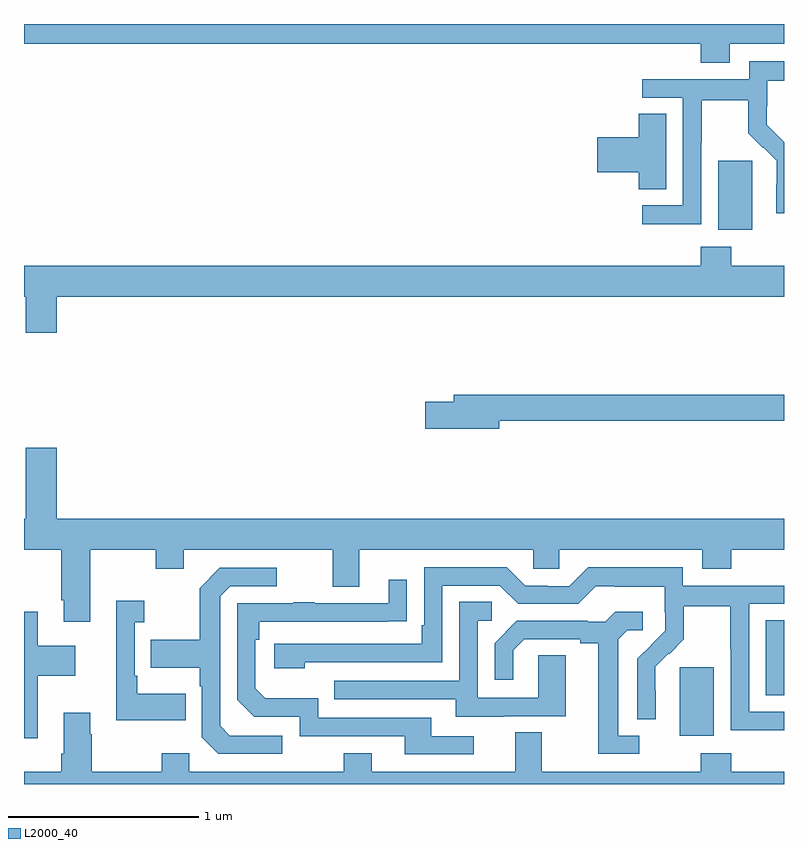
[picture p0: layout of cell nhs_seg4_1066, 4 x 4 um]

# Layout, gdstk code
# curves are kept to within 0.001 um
import gdstk
lib = gdstk.Library(unit=1e-6, precision=1e-09)
def R(c, l, rs):  # rectangles x0, y0, x1, y1
    for r in rs: c.add(gdstk.rectangle(r[:2], r[2:], *l))
def P(c, l, *ps):  # polygons
    for p in ps: c.add(gdstk.Polygon(p, *l))
L2000_40 = (2000, 40)

nhs_seg4_1066 = lib.new_cell('nhs_seg4_1066')
R(nhs_seg4_1066, L2000_40, [(168.452,817.154,168.631,817.515), (168.905,817.366,169,817.763), (168.653,819.818,168.832,820.179)])
P(nhs_seg4_1066, L2000_40, [(168.715,820.796),(169,820.796),(169,820.9),(165,820.9),(165,820.796),(168.563,820.796),(168.563,820.697),(168.715,820.697)],
  [(168.564,820.276),(168.567,820.276),(168.567,820.5),(168.811,820.5),(168.811,820.325),(168.888,820.248),(168.891,820.251),(168.962,820.181),(168.962,820.058),(168.96,820.058),(168.96,819.904),(169,819.904),(169,820.278),(168.983,820.295),(168.984,820.296),(168.91,820.37),(168.91,820.467),(168.912,820.467),(168.912,820.601),(169,820.601),(169,820.705),(168.816,820.705),(168.816,820.608),(168.255,820.608),(168.255,820.512),(168.468,820.512),(168.468,819.945),(168.255,819.945),(168.255,819.847),(168.564,819.847)],
  [(168.379,820.427),(168.236,820.427),(168.236,820.304),(168.018,820.304),(168.018,820.121),(168.236,820.121),(168.236,820.03),(168.379,820.03)],
  [(165.172,819.464),(169,819.464),(169,819.628),(168.723,819.628),(168.723,819.727),(168.563,819.727),(168.563,819.628),(165,819.628),(165,819.464),(165.008,819.464),(165.008,819.276),(165.172,819.276)],
  [(167.5,818.812),(169,818.812),(169,818.948),(167.261,818.948),(167.261,818.912),(167.112,818.912),(167.112,818.77),(167.5,818.77)],
  [(165.349,818.132),(165.694,818.132),(165.694,818.033),(165.841,818.033),(165.841,818.132),(166.625,818.132),(166.625,817.938),(166.765,817.938),(166.765,818.132),(167.679,818.132),(167.679,818.034),(167.817,818.034),(167.817,818.132),(168.569,818.132),(168.569,818.033),(168.722,818.033),(168.722,818.132),(169,818.132),(169,818.296),(165.172,818.296),(165.172,818.671),(165.008,818.671),(165.008,818.296),(165,818.296),(165,818.132),(165.197,818.132),(165.197,817.867),(165.209,817.867),(165.209,817.755),(165.349,817.755)],
  [(169,817.281),(168.816,817.281),(168.816,817.848),(169,817.848),(169,817.944),(168.468,817.944),(168.468,818.041),(167.971,818.041),(167.871,817.941),(167.756,817.941),(167.756,817.944),(167.637,817.944),(167.541,818.04),(167.106,818.04),(167.106,817.735),(167.093,817.735),(167.093,817.638),(166.317,817.638),(166.317,817.508),(166.478,817.508),(166.478,817.542),(167.202,817.542),(167.202,817.944),(167.505,817.944),(167.601,817.848),(167.916,817.848),(168.009,817.941),(168.109,817.941),(168.109,817.937),(168.372,817.937),(168.372,817.803),(168.374,817.803),(168.374,817.706),(168.228,817.558),(168.228,817.24),(168.324,817.24),(168.323,817.517),(168.393,817.587),(168.396,817.584),(168.473,817.661),(168.473,817.836),(168.718,817.836),(168.718,817.612),(168.72,817.612),(168.72,817.183),(169,817.183)],
  [(166.36,817.155),(166.083,817.155),(166.032,817.206),(166.032,817.887),(166.086,817.941),(166.33,817.941),(166.33,818.037),(166.029,818.037),(165.924,817.931),(165.924,817.659),(165.667,817.659),(165.667,817.511),(165.924,817.511),(165.924,817.415),(165.936,817.415),(165.936,817.146),(166.023,817.059),(166.36,817.059)],
  [(167.368,817.152),(167.143,817.152),(167.143,817.248),(166.548,817.248),(166.548,817.351),(166.271,817.351),(166.218,817.404),(166.218,817.658),(166.238,817.658),(166.238,817.755),(167.015,817.756),(167.015,817.975),(166.919,817.975),(166.919,817.851),(166.529,817.851),(166.529,817.856),(166.417,817.856),(166.417,817.851),(166.122,817.851),(166.122,817.344),(166.212,817.254),(166.452,817.254),(166.452,817.152),(167.003,817.152),(167.003,817.056),(167.368,817.056)],
  [(165.851,817.375),(165.595,817.375),(165.595,817.471),(165.582,817.471),(165.582,817.751),(165.634,817.751),(165.634,817.864),(165.485,817.864),(165.485,817.235),(165.851,817.235)],
  [(167.527,817.257),(167.851,817.257),(167.851,817.577),(167.706,817.577),(167.706,817.353),(167.388,817.353),(167.388,817.758),(167.461,817.758),(167.461,817.859),(167.292,817.859),(167.292,817.443),(166.633,817.443),(166.633,817.347),(167.273,817.347),(167.273,817.253),(167.527,817.253)],
  [(168.238,817.155),(168.127,817.155),(168.127,817.663),(168.174,817.71),(168.256,817.71),(168.256,817.807),(168.112,817.807),(168.06,817.755),(167.966,817.755),(167.966,817.758),(167.594,817.758),(167.478,817.642),(167.478,817.449),(167.575,817.449),(167.575,817.605),(167.632,817.662),(167.927,817.662),(167.927,817.64),(168.023,817.64),(168.023,817.059),(168.238,817.059)],
  [(165.073,817.469),(165.271,817.469),(165.271,817.627),(165.073,817.627),(165.073,817.807),(165,817.807),(165,817.14),(165.073,817.14)],
  [(169,816.964),(168.722,816.964),(168.722,817.063),(168.562,817.063),(168.562,816.964),(167.725,816.964),(167.725,817.172),(167.585,817.172),(167.585,816.964),(166.831,816.964),(166.831,817.063),(166.684,817.063),(166.684,816.964),(165.87,816.964),(165.87,817.063),(165.724,817.063),(165.724,816.964),(165.357,816.964),(165.357,817.163),(165.349,817.163),(165.349,817.276),(165.209,817.276),(165.209,817.06),(165.197,817.06),(165.197,816.964),(165,816.964),(165,816.9),(169,816.9)])

lib.write_gds('nhs_seg4_1066.gds')
